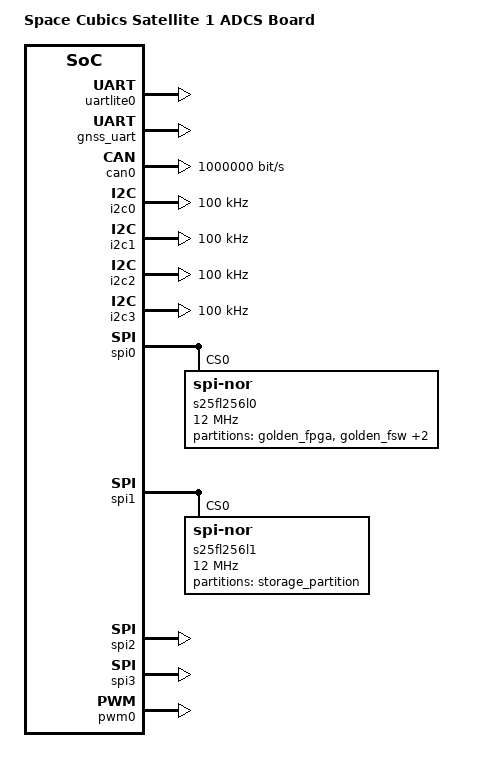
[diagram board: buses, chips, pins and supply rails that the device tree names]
/*
 * Copyright (c) 2023 Space Cubics, LLC.
 *
 * SPDX-License-Identifier: Apache-2.0
 */

/dts-v1/;
#include <arm/armv7-m.dtsi>
#include <mem.h>
#include <zephyr/dt-bindings/i2c/i2c.h>

/ {
	model = "Space Cubics Satellite 1 ADCS Board";

	chosen {
		zephyr,console = &uartlite0;
		zephyr,shell-uart = &uartlite0;
		zephyr,sram = &hrmem;
		zephyr,canbus = &can0;
	};

	cpus {
		#address-cells = <1>;
		#size-cells = <0>;

		cpu0: cpu@0 {
			device_type = "cpu";
			compatible = "arm,cortex-m3";
			reg = <0>;
			#address-cells = <1>;
			#size-cells = <1>;

			mpu: mpu@e000ed90 {
				compatible = "arm,armv7m-mpu";
				reg = <0xe000ed90 0x40>;
			};
		};
	};

	soc {
		hrmem: memory@0 {
			compatible = "sc,hrmem";
			reg = <0x00000000 DT_SIZE_M(4)>;
		};

		uartlite0: uartlite@4f010000 {
			compatible = "xlnx,xps-uartlite-1.00.a";
			interrupts = <0 0>;
			reg = <0x4f010000 0x10000>;
		};

		gnss_uart: uartlite@50020000 {
			compatible = "xlnx,xps-uartlite-1.00.a";
			interrupts = <19 0>;
			reg = <0x50020000 0x10000>;
		};

		can0: can@40400000 {
			compatible = "sc,can";
			clock-frequency = <24000000>;
			interrupts = <5 0>;
			reg = <0x40400000 0x10000>;
			bitrate = <1000000>;
			sample-point = <750>;
			tx-fifo-depth = <64>;
			max-filter = <4>;

			can-transceiver {
				max-bitrate = <1000000>;
			};
		};

		i2c0: i2c@4f030000 {
			compatible = "sc,i2c";
			interrupts = <7 0>;
			reg = <0x4f030000 0x10000>;
			#address-cells = <1>;
			#size-cells = <0>;
			clock-frequency = <I2C_BITRATE_STANDARD>;
		};

		i2c1: i2c@50040000 {
			compatible = "sc,i2c";
			interrupts = <20 0>;
			reg = <0x50040000 0x10000>;
			#address-cells = <1>;
			#size-cells = <0>;
			clock-frequency = <I2C_BITRATE_STANDARD>;
		};

		i2c2: i2c@50050000 {
			compatible = "sc,i2c";
			interrupts = <21 0>;
			reg = <0x50050000 0x10000>;
			#address-cells = <1>;
			#size-cells = <0>;
			clock-frequency = <I2C_BITRATE_STANDARD>;
		};

		i2c3: i2c@50060000 {
			compatible = "sc,i2c";
			interrupts = <22 0>;
			reg = <0x50060000 0x10000>;
			#address-cells = <1>;
			#size-cells = <0>;
			clock-frequency = <I2C_BITRATE_STANDARD>;
		};

		spi0: spi@40000000 {
			compatible = "sc,qspi";
			interrupts = <2 0>;
			reg = <0x40000000 0x1000>;
			#address-cells = <1>;
			#size-cells = <0>;
			slave-num = <1>;
			cpol = <0>;
			cpha = <0>;
			spiclk_div = <0>;
			data-capture-mode;

			s25fl256l0: s25fl256l0@0 {
				compatible = "jedec,spi-nor";
				reg = <0>;
				size = <DT_SIZE_M(256)>;
				spi-max-frequency = <12000000>;
				status = "okay";
				enter-4byte-addr = <1>;
				jedec-id = [01 60 19];

				partitions {
					compatible = "fixed-partitions";
					#address-cells = <1>;
					#size-cells = <1>;
					golden_fpga: partition@0 {
						reg = <0x00000000 DT_SIZE_M(8)>;
					};
					golden_fsw: partition@800000 {
						reg = <0x00800000 (DT_SIZE_M(4))>;
					};
					update_fpga: partition@1000000 {
						reg = <0x01000000 DT_SIZE_M(10)>;
					};
					update_fsw: partition@1A00000 {
						reg = <0x01A00000 (DT_SIZE_M(4))>;
					};
				};
			};
		};

		spi1: spi@40100000 {
			compatible = "sc,qspi";
			interrupts = <3 0>;
			reg = <0x40100000 0x1000>;
			#address-cells = <1>;
			#size-cells = <0>;
			slave-num = <2>;
			cpol = <0>;
			cpha = <0>;
			spiclk_div = <0>;
			data-capture-mode;

			s25fl256l1: s25fl256l1@0 {
				compatible = "jedec,spi-nor";
				reg = <0>;
				size = <DT_SIZE_M(256)>;
				spi-max-frequency = <12000000>;
				status = "okay";
				enter-4byte-addr = <1>;
				jedec-id = [01 60 19];

				partitions {
					compatible = "fixed-partitions";
					#address-cells = <1>;
					#size-cells = <1>;

					storage_partition: partition@0 {
						label = "storage_partition";
						reg = <0x00000000 DT_SIZE_M(32)>;
					};
				};
			};
		};

		spi2: spi@40200000 {
			compatible = "sc,qspi";
			interrupts = <4 0>;
			reg = <0x40200000 0x1000>;
			#address-cells = <1>;
			#size-cells = <0>;
			slave-num = <2>;
			cpol = <0>;
			cpha = <0>;
			spiclk_div = <0>;
		};

		spi3: spi@50100000 {
			compatible = "sc,qspi";
			interrupts = <24 0>;
			reg = <0x50100000 0x1000>;
			#address-cells = <1>;
			#size-cells = <0>;
			slave-num = <1>;
			cpol = <1>;
			cpha = <1>;
			spiclk_div = <1>;
		};

		pwm0: pwm@50070000 {
			compatible = "sc,pwm";
			reg = <0x50070000 0x10000>;
			max-out-channel = <3>;
		};

		fpgasys: fpgasys@4f000000 {
			compatible = "sc,fpgasys";
			reg = <0x4f000000 0x10000>;
		};

		fpgaconf: fpgaconf@4f0f0000 {
			compatible = "sc,fpgaconf";
			reg = <0x4f0f0000 0x1000>;
		};

		fpgamon: fpgamon@4f040000 {
			compatible = "sc,fpgamon";
			reg = <0x4f040000 0x1000>;
		};

		fpgahrmem: fpgahrmem@40500000 {
			compatible = "sc,fpgahrmem";
			reg = <0x40500000 0x1000>;
		};
	};
};

&nvic {
	arm,num-irq-priority-bits = <3>;
};
